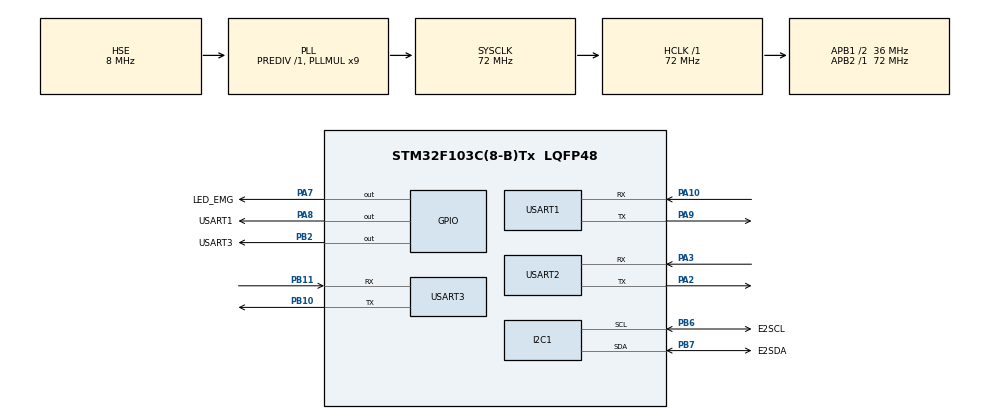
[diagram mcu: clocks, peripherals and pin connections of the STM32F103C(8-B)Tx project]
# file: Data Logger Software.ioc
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Mcu.Family=STM32F1
Mcu.Name=STM32F103C(8-B)Tx
Mcu.Package=LQFP48
NVIC.PriorityGroup=NVIC_PRIORITYGROUP_4
NVIC.TIM2_IRQn=true\:0\:0\:false\:false\:true\:true\:true\:true
NVIC.TIM3_IRQn=true\:0\:0\:false\:false\:true\:true\:true\:true
NVIC.USART1_IRQn=true\:0\:0\:false\:false\:true\:true\:true\:true
NVIC.USART2_IRQn=true\:0\:0\:false\:false\:true\:true\:true\:true
NVIC.USART3_IRQn=true\:0\:0\:false\:false\:true\:true\:true\:true
PA10.Mode=Asynchronous
PA10.Signal=USART1_RX
PA13.Mode=Serial_Wire
PA13.Signal=SYS_JTMS-SWDIO
PA14.Mode=Serial_Wire
PA14.Signal=SYS_JTCK-SWCLK
PA2.Mode=Asynchronous
PA2.Signal=USART2_TX
PA3.Mode=Asynchronous
PA3.Signal=USART2_RX
PA7.GPIO_Label=LED_EMG
PA7.Signal=GPIO_Output
PA8.GPIO_Label=USART1
PA8.Signal=GPIO_Output
PA9.Mode=Asynchronous
PA9.Signal=USART1_TX
PB10.Mode=Asynchronous
PB10.Signal=USART3_TX
PB11.Mode=Asynchronous
PB11.Signal=USART3_RX
PB2.GPIO_Label=USART3
PB2.Signal=GPIO_Output
PB6.GPIO_Label=E2SCL
PB6.Mode=I2C
PB6.Signal=I2C1_SCL
PB7.GPIO_Label=E2SDA
PB7.Mode=I2C
PB7.Signal=I2C1_SDA
PD0-OSC_IN.Mode=HSE-External-Oscillator
PD0-OSC_IN.Signal=RCC_OSC_IN
PD1-OSC_OUT.Mode=HSE-External-Oscillator
PD1-OSC_OUT.Signal=RCC_OSC_OUT
ProjectManager.HeapSize=0x200
ProjectManager.StackSize=0x400
ProjectManager.TargetToolchain=MDK-ARM V5.32
RCC.AHBFreq_Value=72000000
RCC.APB1CLKDivider=RCC_HCLK_DIV2
RCC.APB1Freq_Value=36000000
RCC.APB1TimFreq_Value=72000000
RCC.APB2Freq_Value=72000000
RCC.APB2TimFreq_Value=72000000
RCC.HCLKFreq_Value=72000000
RCC.PLLMUL=RCC_PLL_MUL9
RCC.PLLSourceVirtual=RCC_PLLSOURCE_HSE
RCC.SYSCLKFreq_VALUE=72000000
RCC.SYSCLKSource=RCC_SYSCLKSOURCE_PLLCLK
RCC.USBFreq_Value=72000000
TIM2.Period=10000-1
TIM2.Prescaler=7200
TIM3.Period=10000-1
TIM3.Prescaler=7200
USART1.VirtualMode=VM_ASYNC
USART2.VirtualMode=VM_ASYNC
USART3.VirtualMode=VM_ASYNC
VP_CRC_VS_CRC.Mode=CRC_Activate
VP_TIM2_VS_ClockSourceINT.Mode=Internal
VP_TIM3_VS_ClockSourceINT.Mode=Internal
board=custom

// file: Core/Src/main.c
/* USER CODE BEGIN Header */
/**
  ******************************************************************************
  * @file           : main.c
  * @brief          : Main program body
  ******************************************************************************
  * @attention
  *
  * Copyright (c) 2023 STMicroelectronics.
  * All rights reserved.
  *
  * This software is licensed under terms that can be found in the LICENSE file
  * in the root directory of this software component.
  * If no LICENSE file comes with this software, it is provided AS-IS.
  *
  ******************************************************************************
  */
/* USER CODE END Header */
#include "main.h"

/* USER CODE BEGIN Includes */
#include "FUNCTION.h"
/* USER CODE END Includes */

CRC_HandleTypeDef hcrc;

I2C_HandleTypeDef hi2c1;

TIM_HandleTypeDef htim2;
TIM_HandleTypeDef htim3;

UART_HandleTypeDef huart1;
UART_HandleTypeDef huart2;
UART_HandleTypeDef huart3;

/* USER CODE BEGIN PV */
master_to_pc_t 			master_to_pc;
master_to_slave_t 	master_to_slave;
uint8_t 						command_counter=0;
uint8_t 						current_module=0;
master_to_slave_t 	rx_buffer;
Error_t							Error;
const	uint8_t							available_board[30] = {BOARD_1 , BOARD_2 , BOARD_3 ,BOARD_4 ,BOARD_5, \
																								 BOARD_6 , BOARD_7 , BOARD_8 ,BOARD_9 ,BOARD_10, \
																								 BOARD_11 , BOARD_12 , BOARD_13 ,BOARD_14 ,BOARD_15, \
																								 BOARD_16 , BOARD_17 , BOARD_18 ,BOARD_19 ,BOARD_20, \
																								 BOARD_21 , BOARD_22 , BOARD_23 ,BOARD_24 ,BOARD_25, \
																								 BOARD_26 , BOARD_27 , BOARD_28 ,BOARD_29 ,BOARD_30};

FLAG_t flag;
uint8_t 								slave_board_num=0;
uint32_t								rx_CRC_CALCULATE;
uint32_t								tx_CRC_CALCULATE;
/* USER CODE END PV */

void SystemClock_Config(void);
static void MX_GPIO_Init(void);
static void MX_I2C1_Init(void);
static void MX_USART1_UART_Init(void);
static void MX_USART2_UART_Init(void);
static void MX_USART3_UART_Init(void);
static void MX_TIM2_Init(void);
static void MX_TIM3_Init(void);
static void MX_CRC_Init(void);

/* USER CODE BEGIN 0 */
void HAL_TIM_PeriodElapsedCallback(TIM_HandleTypeDef *htim)
	{
		if(htim->Instance == TIM3)
			{
				// board fault
				HAL_TIM_Base_Stop_IT(&htim3);
				HAL_UART_Abort(&huart3);

				uint8_t temp;
				temp = USART3->DR;
				__HAL_UART_ENABLE_IT(&huart3,UART_IT_RXNE);
				Error.board_not_respond++;
				master_to_slave.detail.Address++;
				request_data();

			}

	}
/* USER CODE END 0 */

int main(void)
{

  /* MCU Configuration--------------------------------------------------------*/

  /* Reset of all peripherals, Initializes the Flash interface and the Systick. */
  HAL_Init();

  /* Configure the system clock */
  SystemClock_Config();

  /* Initialize all configured peripherals */
  MX_GPIO_Init();
  MX_I2C1_Init();
  MX_USART1_UART_Init();
  MX_USART2_UART_Init();
  MX_USART3_UART_Init();
  MX_TIM2_Init();
  MX_TIM3_Init();
  MX_CRC_Init();
  /* USER CODE BEGIN 2 */

flag.FLAG=0;
master_to_pc.detail.start_frame1 			 = first_frame_1;
master_to_pc.detail.start_frame2 			 = first_frame_2;
master_to_pc.detail.start_frame3 			 = first_frame_3;
master_to_pc.detail.end_frame1   			 = second_frame_1;
master_to_pc.detail.end_frame2   			 = second_frame_2;
master_to_pc.detail.end_frame3   			 = second_frame_3;

master_to_slave.detail.slave_or_master = 1;
master_to_slave.detail.start_frame1 	 = slave_first_frame_1;
master_to_slave.detail.start_frame2 	 = slave_first_frame_2;
master_to_slave.detail.end_frame1	  	 = slave_second_frame_1;
master_to_slave.detail.end_frame2	  	 = slave_second_frame_2;
//	__HAL_UART_ENABLE_IT(&huart1,UART_IT_RXNE); //PC there is no interupt for PC comunication
HAL_TIM_Base_Start(&htim2);
__HAL_UART_ENABLE_IT(&huart3,UART_IT_RXNE); //SLAVE board

HAL_Delay(2000);

// change state of system to transmit
master_to_slave.detail.Address =0;
request_data();
  /* USER CODE END 2 */

  /* Infinite loop */
  while (1)
  {

  }
}

void SystemClock_Config(void)
{
  RCC_OscInitTypeDef RCC_OscInitStruct = {0};
  RCC_ClkInitTypeDef RCC_ClkInitStruct = {0};

  /** Initializes the RCC Oscillators according to the specified parameters
  * in the RCC_OscInitTypeDef structure.
  */
  RCC_OscInitStruct.OscillatorType = RCC_OSCILLATORTYPE_HSE;
  RCC_OscInitStruct.HSEState = RCC_HSE_ON;
  RCC_OscInitStruct.HSEPredivValue = RCC_HSE_PREDIV_DIV1;
  RCC_OscInitStruct.HSIState = RCC_HSI_ON;
  RCC_OscInitStruct.PLL.PLLState = RCC_PLL_ON;
  RCC_OscInitStruct.PLL.PLLSource = RCC_PLLSOURCE_HSE;
  RCC_OscInitStruct.PLL.PLLMUL = RCC_PLL_MUL9;
  if (HAL_RCC_OscConfig(&RCC_OscInitStruct) != HAL_OK)
  {
    Error_Handler();
  }

  /** Initializes the CPU, AHB and APB buses clocks
  */
  RCC_ClkInitStruct.ClockType = RCC_CLOCKTYPE_HCLK|RCC_CLOCKTYPE_SYSCLK
                              |RCC_CLOCKTYPE_PCLK1|RCC_CLOCKTYPE_PCLK2;
  RCC_ClkInitStruct.SYSCLKSource = RCC_SYSCLKSOURCE_PLLCLK;
  RCC_ClkInitStruct.AHBCLKDivider = RCC_SYSCLK_DIV1;
  RCC_ClkInitStruct.APB1CLKDivider = RCC_HCLK_DIV2;
  RCC_ClkInitStruct.APB2CLKDivider = RCC_HCLK_DIV1;

  if (HAL_RCC_ClockConfig(&RCC_ClkInitStruct, FLASH_LATENCY_2) != HAL_OK)
  {
    Error_Handler();
  }
}

static void MX_CRC_Init(void)
{

  hcrc.Instance = CRC;
  if (HAL_CRC_Init(&hcrc) != HAL_OK)
  {
    Error_Handler();
  }

}

static void MX_I2C1_Init(void)
{

  hi2c1.Instance = I2C1;
  hi2c1.Init.ClockSpeed = 100000;
  hi2c1.Init.DutyCycle = I2C_DUTYCYCLE_2;
  hi2c1.Init.OwnAddress1 = 0;
  hi2c1.Init.AddressingMode = I2C_ADDRESSINGMODE_7BIT;
  hi2c1.Init.DualAddressMode = I2C_DUALADDRESS_DISABLE;
  hi2c1.Init.OwnAddress2 = 0;
  hi2c1.Init.GeneralCallMode = I2C_GENERALCALL_DISABLE;
  hi2c1.Init.NoStretchMode = I2C_NOSTRETCH_DISABLE;
  if (HAL_I2C_Init(&hi2c1) != HAL_OK)
  {
    Error_Handler();
  }

}

static void MX_TIM2_Init(void)
{

  TIM_ClockConfigTypeDef sClockSourceConfig = {0};
  TIM_MasterConfigTypeDef sMasterConfig = {0};

  htim2.Instance = TIM2;
  htim2.Init.Prescaler = 72;
  htim2.Init.CounterMode = TIM_COUNTERMODE_UP;
  htim2.Init.Period = 65000;
  htim2.Init.ClockDivision = TIM_CLOCKDIVISION_DIV1;
  htim2.Init.AutoReloadPreload = TIM_AUTORELOAD_PRELOAD_DISABLE;
  if (HAL_TIM_Base_Init(&htim2) != HAL_OK)
  {
    Error_Handler();
  }
  sClockSourceConfig.ClockSource = TIM_CLOCKSOURCE_INTERNAL;
  if (HAL_TIM_ConfigClockSource(&htim2, &sClockSourceConfig) != HAL_OK)
  {
    Error_Handler();
  }
  sMasterConfig.MasterOutputTrigger = TIM_TRGO_RESET;
  sMasterConfig.MasterSlaveMode = TIM_MASTERSLAVEMODE_DISABLE;
  if (HAL_TIMEx_MasterConfigSynchronization(&htim2, &sMasterConfig) != HAL_OK)
  {
    Error_Handler();
  }

}

static void MX_TIM3_Init(void)
{

  TIM_ClockConfigTypeDef sClockSourceConfig = {0};
  TIM_MasterConfigTypeDef sMasterConfig = {0};

  htim3.Instance = TIM3;
  htim3.Init.Prescaler = 7200;
  htim3.Init.CounterMode = TIM_COUNTERMODE_UP;
  htim3.Init.Period = 60000-1;
  htim3.Init.ClockDivision = TIM_CLOCKDIVISION_DIV1;
  htim3.Init.AutoReloadPreload = TIM_AUTORELOAD_PRELOAD_DISABLE;
  if (HAL_TIM_Base_Init(&htim3) != HAL_OK)
  {
    Error_Handler();
  }
  sClockSourceConfig.ClockSource = TIM_CLOCKSOURCE_INTERNAL;
  if (HAL_TIM_ConfigClockSource(&htim3, &sClockSourceConfig) != HAL_OK)
  {
    Error_Handler();
  }
  sMasterConfig.MasterOutputTrigger = TIM_TRGO_RESET;
  sMasterConfig.MasterSlaveMode = TIM_MASTERSLAVEMODE_DISABLE;
  if (HAL_TIMEx_MasterConfigSynchronization(&htim3, &sMasterConfig) != HAL_OK)
  {
    Error_Handler();
  }

}

static void MX_USART1_UART_Init(void)
{

  huart1.Instance = USART1;
  huart1.Init.BaudRate = 115200;
  huart1.Init.WordLength = UART_WORDLENGTH_8B;
  huart1.Init.StopBits = UART_STOPBITS_1;
  huart1.Init.Parity = UART_PARITY_NONE;
  huart1.Init.Mode = UART_MODE_TX_RX;
  huart1.Init.HwFlowCtl = UART_HWCONTROL_NONE;
  huart1.Init.OverSampling = UART_OVERSAMPLING_16;
  if (HAL_UART_Init(&huart1) != HAL_OK)
  {
    Error_Handler();
  }

}

static void MX_USART2_UART_Init(void)
{

  huart2.Instance = USART2;
  huart2.Init.BaudRate = 115200;
  huart2.Init.WordLength = UART_WORDLENGTH_8B;
  huart2.Init.StopBits = UART_STOPBITS_1;
  huart2.Init.Parity = UART_PARITY_NONE;
  huart2.Init.Mode = UART_MODE_TX_RX;
  huart2.Init.HwFlowCtl = UART_HWCONTROL_NONE;
  huart2.Init.OverSampling = UART_OVERSAMPLING_16;
  if (HAL_UART_Init(&huart2) != HAL_OK)
  {
    Error_Handler();
  }

}

static void MX_USART3_UART_Init(void)
{

  huart3.Instance = USART3;
  huart3.Init.BaudRate = 115200;
  huart3.Init.WordLength = UART_WORDLENGTH_8B;
  huart3.Init.StopBits = UART_STOPBITS_1;
  huart3.Init.Parity = UART_PARITY_NONE;
  huart3.Init.Mode = UART_MODE_TX_RX;
  huart3.Init.HwFlowCtl = UART_HWCONTROL_NONE;
  huart3.Init.OverSampling = UART_OVERSAMPLING_16;
  if (HAL_UART_Init(&huart3) != HAL_OK)
  {
    Error_Handler();
  }

}

static void MX_GPIO_Init(void)
{
  GPIO_InitTypeDef GPIO_InitStruct = {0};

  /* GPIO Ports Clock Enable */
  __HAL_RCC_GPIOD_CLK_ENABLE();
  __HAL_RCC_GPIOA_CLK_ENABLE();
  __HAL_RCC_GPIOB_CLK_ENABLE();

  /*Configure GPIO pin Output Level */
  HAL_GPIO_WritePin(GPIOA, LED_EMG_Pin|USART1_Pin, GPIO_PIN_RESET);

  /*Configure GPIO pin Output Level */
  HAL_GPIO_WritePin(USART3_GPIO_Port, USART3_Pin, GPIO_PIN_RESET);

  /*Configure GPIO pins : LED_EMG_Pin USART1_Pin */
  GPIO_InitStruct.Pin = LED_EMG_Pin|USART1_Pin;
  GPIO_InitStruct.Mode = GPIO_MODE_OUTPUT_PP;
  GPIO_InitStruct.Pull = GPIO_NOPULL;
  GPIO_InitStruct.Speed = GPIO_SPEED_FREQ_LOW;
  HAL_GPIO_Init(GPIOA, &GPIO_InitStruct);

  /*Configure GPIO pin : USART3_Pin */
  GPIO_InitStruct.Pin = USART3_Pin;
  GPIO_InitStruct.Mode = GPIO_MODE_OUTPUT_PP;
  GPIO_InitStruct.Pull = GPIO_NOPULL;
  GPIO_InitStruct.Speed = GPIO_SPEED_FREQ_LOW;
  HAL_GPIO_Init(USART3_GPIO_Port, &GPIO_InitStruct);

}

void Error_Handler(void)
{
  __disable_irq();
  while (1)
  {
  }
}
